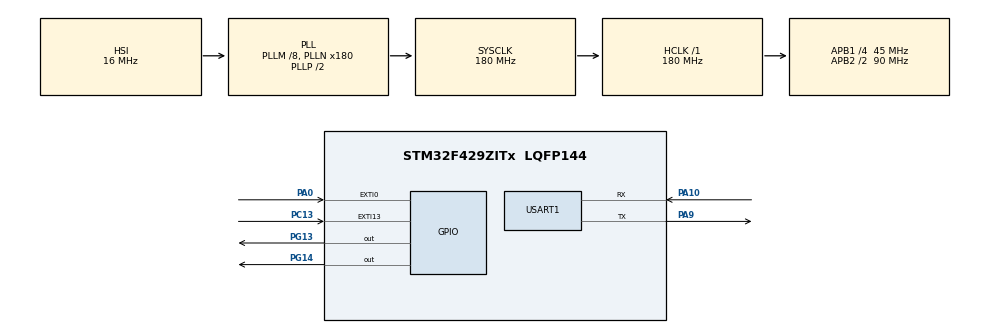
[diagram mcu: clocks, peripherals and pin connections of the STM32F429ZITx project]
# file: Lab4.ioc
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Mcu.Family=STM32F4
Mcu.Name=STM32F429ZITx
Mcu.Package=LQFP144
NVIC.EXTI0_IRQn=true\:2\:1\:true\:false\:true\:true\:true
NVIC.EXTI15_10_IRQn=true\:2\:3\:true\:false\:true\:true\:true
NVIC.PriorityGroup=NVIC_PRIORITYGROUP_2
PA0/WKUP.GPIO_ModeDefaultEXTI=GPIO_MODE_IT_FALLING
PA0/WKUP.Signal=GPXTI0
PA10.Mode=Asynchronous
PA10.Signal=USART1_RX
PA9.Mode=Asynchronous
PA9.Signal=USART1_TX
PC13.Signal=GPXTI13
PG13.GPIO_PuPd=GPIO_NOPULL
PG13.Signal=GPIO_Output
PG14.Signal=GPIO_Output
ProjectManager.HeapSize=0x200
ProjectManager.StackSize=0x400
ProjectManager.TargetToolchain=STM32CubeIDE
RCC.48MHZClocksFreq_Value=90000000
RCC.AHBFreq_Value=180000000
RCC.APB1CLKDivider=RCC_HCLK_DIV4
RCC.APB1Freq_Value=45000000
RCC.APB1TimFreq_Value=90000000
RCC.APB2CLKDivider=RCC_HCLK_DIV2
RCC.APB2Freq_Value=90000000
RCC.APB2TimFreq_Value=180000000
RCC.CortexFreq_Value=180000000
RCC.HCLKFreq_Value=180000000
RCC.HSE_VALUE=25000000
RCC.HSI_VALUE=16000000
RCC.LSE_VALUE=32768
RCC.PLLM=8
RCC.PLLN=180
RCC.SYSCLKFreq_VALUE=180000000
RCC.SYSCLKSource=RCC_SYSCLKSOURCE_PLLCLK
RCC.VCOOutputFreq_Value=360000000
USART1.VirtualMode=VM_ASYNC
board=custom

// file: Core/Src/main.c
/* USER CODE BEGIN Header */
/**
  ******************************************************************************
  * @file           : main.c
  * @brief          : Main program body
  ******************************************************************************
  * @attention
  *
  * <h2><center>&copy; Copyright (c) 2021 STMicroelectronics.
  * All rights reserved.</center></h2>
  *
  * This software component is licensed by ST under BSD 3-Clause license,
  * the "License"; You may not use this file except in compliance with the
  * License. You may obtain a copy of the License at:
  *                        opensource.org/licenses/BSD-3-Clause
  *
  ******************************************************************************
  */
/* USER CODE END Header */
#include "main.h"
#include "usart.h"
#include "gpio.h"

void SystemClock_Config(void);

int main(void)
{

  /* MCU Configuration--------------------------------------------------------*/

  /* Reset of all peripherals, Initializes the Flash interface and the Systick. */
  HAL_Init();

  /* Configure the system clock */
  SystemClock_Config();

  /* Initialize all configured peripherals */
  MX_GPIO_Init();
  MX_USART1_UART_Init();

  /* Infinite loop */
  while (1)
  {

    /* USER CODE BEGIN 3 */
	  while(__HAL_UART_GET_FLAG(&huart1,UART_FLAG_TC)==RESET){}
	  HAL_UART_Transmit(&huart1, (uint8_t *) ",", 1, 100);
	  HAL_Delay(400);
  }
  /* USER CODE END 3 */
}

void SystemClock_Config(void)
{
  RCC_OscInitTypeDef RCC_OscInitStruct = {0};
  RCC_ClkInitTypeDef RCC_ClkInitStruct = {0};

  /** Configure the main internal regulator output voltage
  */
  __HAL_RCC_PWR_CLK_ENABLE();
  __HAL_PWR_VOLTAGESCALING_CONFIG(PWR_REGULATOR_VOLTAGE_SCALE1);
  /** Initializes the RCC Oscillators according to the specified parameters
  * in the RCC_OscInitTypeDef structure.
  */
  RCC_OscInitStruct.OscillatorType = RCC_OSCILLATORTYPE_HSI;
  RCC_OscInitStruct.HSIState = RCC_HSI_ON;
  RCC_OscInitStruct.HSICalibrationValue = RCC_HSICALIBRATION_DEFAULT;
  RCC_OscInitStruct.PLL.PLLState = RCC_PLL_ON;
  RCC_OscInitStruct.PLL.PLLSource = RCC_PLLSOURCE_HSI;
  RCC_OscInitStruct.PLL.PLLM = 8;
  RCC_OscInitStruct.PLL.PLLN = 180;
  RCC_OscInitStruct.PLL.PLLP = RCC_PLLP_DIV2;
  RCC_OscInitStruct.PLL.PLLQ = 4;
  if (HAL_RCC_OscConfig(&RCC_OscInitStruct) != HAL_OK)
  {
    Error_Handler();
  }
  /** Activate the Over-Drive mode
  */
  if (HAL_PWREx_EnableOverDrive() != HAL_OK)
  {
    Error_Handler();
  }
  /** Initializes the CPU, AHB and APB buses clocks
  */
  RCC_ClkInitStruct.ClockType = RCC_CLOCKTYPE_HCLK|RCC_CLOCKTYPE_SYSCLK
                              |RCC_CLOCKTYPE_PCLK1|RCC_CLOCKTYPE_PCLK2;
  RCC_ClkInitStruct.SYSCLKSource = RCC_SYSCLKSOURCE_PLLCLK;
  RCC_ClkInitStruct.AHBCLKDivider = RCC_SYSCLK_DIV1;
  RCC_ClkInitStruct.APB1CLKDivider = RCC_HCLK_DIV4;
  RCC_ClkInitStruct.APB2CLKDivider = RCC_HCLK_DIV2;

  if (HAL_RCC_ClockConfig(&RCC_ClkInitStruct, FLASH_LATENCY_5) != HAL_OK)
  {
    Error_Handler();
  }
}

/* USER CODE BEGIN 4 */
void HAL_GPIO_EXTI_Callback(uint16_t GPIO_Pin){
	HAL_Delay(500);
	if(GPIO_Pin == GPIO_PIN_0)
	{
		HAL_UART_Transmit(&huart1, (uint8_t*)"---", 3,100);
		HAL_Delay(200);
		for(int i =0;i<20; i++){
			HAL_UART_Transmit(&huart1, (uint8_t*) "B", 1, 100);
			HAL_Delay(200);
		}
	}

	if(GPIO_Pin == GPIO_PIN_13)
		{
			HAL_UART_Transmit(&huart1, (uint8_t*)"---", 3,100);
			HAL_Delay(200);
			for(int i =0;i<20; i++){
				HAL_UART_Transmit(&huart1, (uint8_t*) "E", 1, 100);
				HAL_Delay(200);
			}
		}
}
/* USER CODE END 4 */

void Error_Handler(void)
{
  __disable_irq();
  while (1)
  {
  }
}

/************************ (C) COPYRIGHT STMicroelectronics *****END OF FILE****/
